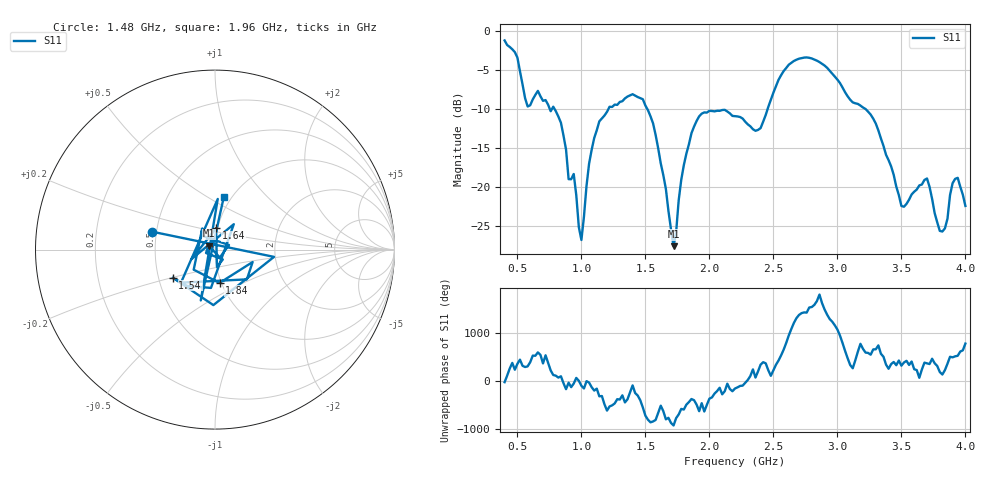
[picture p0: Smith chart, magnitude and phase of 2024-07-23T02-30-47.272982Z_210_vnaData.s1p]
!Created with skrf (http://scikit-rf.org).
# Hz S RI R 50.0
!freq ReS11 ImS11
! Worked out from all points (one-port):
!   181 points, 400 MHz to 4 GHz, reference 50 ohm
!   lowest |S11| = -27.6 dB at 1.72 GHz (marker M1), VSWR 1.09, Z = 46.5 + j2.05 ohm
!   |S11| at or under -10 dB: 789.1 MHz to 1.212 GHz (423.1 MHz wide, 42.3 % of centre); 1.514 GHz to 2.456 GHz (942 MHz wide, 47.5 % of centre); 3.216 GHz to end of sweep (the widest 3 of 4)
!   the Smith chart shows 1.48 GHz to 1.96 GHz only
!   S11 on the Smith chart (normalised r, x): 1.48 GHz: 0.47, +0.11; 1.54 GHz: 0.59, -0.20; 1.64 GHz: 0.98, +0.24; 1.84 GHz: 0.98, -0.38; 1.96 GHz: 0.92, +0.60
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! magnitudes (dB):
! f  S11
! 400 MHz  -1.3
! 500 MHz  -3.5
! 580 MHz  -9.7
! 660 MHz  -7.7
! 860 MHz  -13.4
! 900 MHz  -19.0
! 940 MHz  -18.3
! 1 GHz  -26.8
! 1.1 GHz  -13.8
! 1.3 GHz  -9.1
! 1.48 GHz  -8.8
! 1.54 GHz  -11.0
! 1.64 GHz  -18.5
! 1.72 GHz  -27.6
! 1.76 GHz  -21.7
! 1.84 GHz  -14.5
! 1.96 GHz  -10.5
! 2.2 GHz  -11.0
! 2.4 GHz  -12.5
! 2.66 GHz  -3.9
! 3.1 GHz  -8.9
! 3.28 GHz  -11.3
! 3.5 GHz  -22.4
! 3.56 GHz  -21.6
! 3.7 GHz  -18.9
! 3.82 GHz  -25.7
! 3.92 GHz  -19.0
! 4 GHz  -22.4
